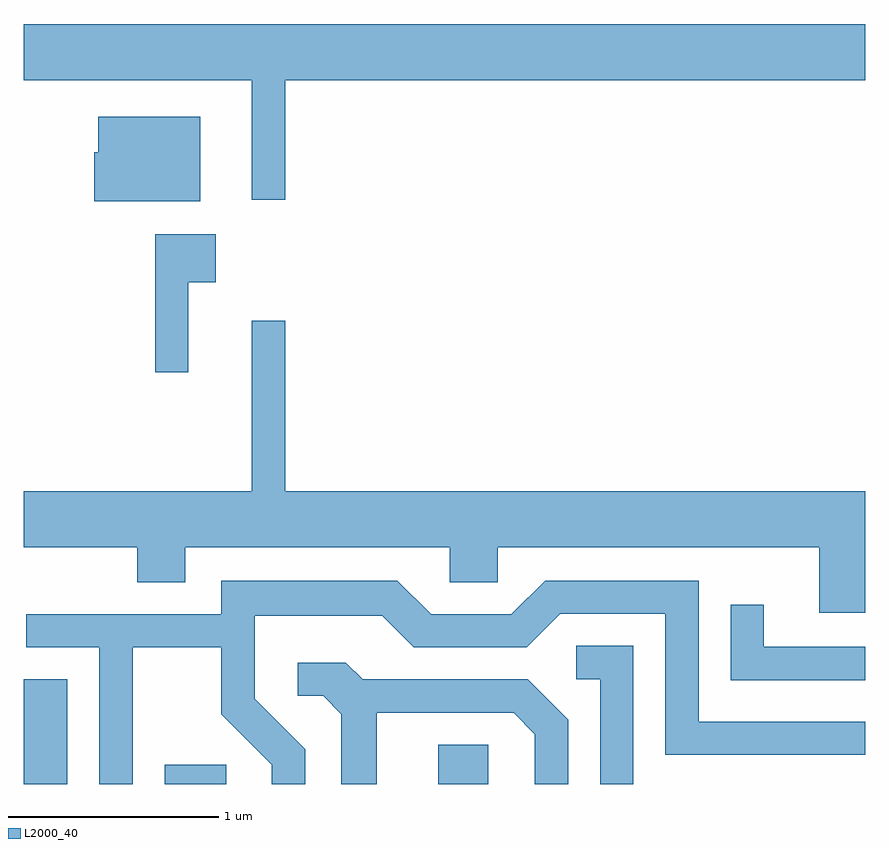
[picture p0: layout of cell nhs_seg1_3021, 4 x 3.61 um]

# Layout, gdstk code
import gdstk
lib = gdstk.Library(unit=1e-6, precision=1e-09)
def R(c, l, rs):  # rectangles x0, y0, x1, y1
    for r in rs: c.add(gdstk.rectangle(r[:2], r[2:], *l))
def P(c, l, *ps):  # polygons
    for p in ps: c.add(gdstk.Polygon(p, *l))
L2000_40 = (2000, 40)

nhs_seg1_3021 = lib.new_cell('nhs_seg1_3021')
R(nhs_seg1_3021, L2000_40, [(275.611,971.712,275.819,972.209), (276.281,971.712,276.574,971.804), (277.581,971.712,277.819,971.899)])
P(nhs_seg1_3021, L2000_40, [(276.854,975.056),(279.611,975.056),(279.611,975.324),(275.611,975.324),(275.611,975.056),(276.696,975.056),(276.696,974.488),(276.854,974.488)],
  [(276.449,974.884),(275.966,974.884),(275.966,974.714),(275.946,974.714),(275.946,974.481),(276.449,974.481)],
  [(276.394,974.096),(276.524,974.096),(276.524,974.324),(276.236,974.324),(276.236,973.668),(276.394,973.668)],
  [(277.636,972.671),(277.864,972.671),(277.864,972.836),(279.391,972.836),(279.391,972.526),(279.611,972.526),(279.611,973.104),(276.854,973.104),(276.854,973.913),(276.696,973.913),(276.696,973.104),(275.611,973.104),(275.611,972.836),(276.151,972.836),(276.151,972.671),(276.379,972.671),(276.379,972.836),(277.636,972.836)],
  [(276.129,972.361),(276.551,972.361),(276.551,972.044),(276.791,971.804),(276.791,971.712),(276.949,971.712),(276.949,971.877),(276.709,972.117),(276.709,972.511),(277.314,972.511),(277.464,972.361),(278.002,972.361),(278.162,972.521),(278.661,972.521),(278.661,971.851),(279.611,971.851),(279.611,972.009),(278.819,972.009),(278.819,972.679),(278.089,972.679),(277.929,972.519),(277.547,972.519),(277.387,972.679),(276.551,972.679),(276.551,972.519),(275.623,972.519),(275.623,972.361),(275.971,972.361),(275.971,971.712),(276.129,971.712)],
  [(279.611,972.364),(279.129,972.364),(279.129,972.563),(278.971,972.563),(278.971,972.206),(279.611,972.206)],
  [(278.509,972.369),(278.238,972.369),(278.238,972.211),(278.351,972.211),(278.351,971.712),(278.509,971.712)],
  [(277.289,972.051),(277.939,972.051),(278.041,971.949),(278.041,971.712),(278.199,971.712),(278.199,972.017),(278.007,972.209),(277.222,972.209),(277.142,972.289),(276.913,972.289),(276.913,972.131),(277.034,972.131),(277.121,972.044),(277.121,971.712),(277.289,971.712)])

lib.write_gds('nhs_seg1_3021.gds')
